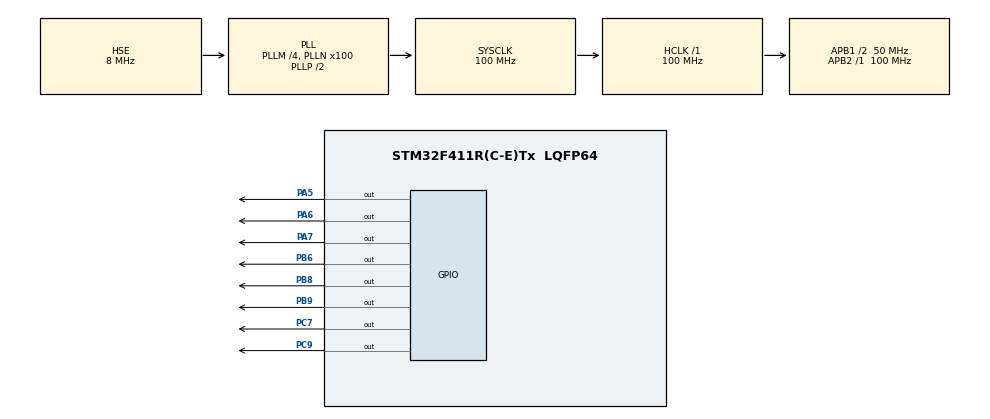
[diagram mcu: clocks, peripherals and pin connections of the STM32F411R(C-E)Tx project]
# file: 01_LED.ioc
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Mcu.Family=STM32F4
Mcu.Name=STM32F411R(C-E)Tx
Mcu.Package=LQFP64
NVIC.PriorityGroup=NVIC_PRIORITYGROUP_4
PA13.Mode=Serial_Wire
PA13.Signal=SYS_JTMS-SWDIO
PA14.Mode=Serial_Wire
PA14.Signal=SYS_JTCK-SWCLK
PA5.Signal=GPIO_Output
PA6.Signal=GPIO_Output
PA7.Signal=GPIO_Output
PB6.Signal=GPIO_Output
PB8.Signal=GPIO_Output
PB9.Signal=GPIO_Output
PC7.Signal=GPIO_Output
PC9.Signal=GPIO_Output
PH0\ -\ OSC_IN.Mode=HSE-External-Oscillator
PH0\ -\ OSC_IN.Signal=RCC_OSC_IN
PH1\ -\ OSC_OUT.Mode=HSE-External-Oscillator
PH1\ -\ OSC_OUT.Signal=RCC_OSC_OUT
ProjectManager.HeapSize=0x200
ProjectManager.StackSize=0x400
ProjectManager.TargetToolchain=STM32CubeIDE
RCC.48MHZClocksFreq_Value=50000000
RCC.AHBFreq_Value=100000000
RCC.APB1CLKDivider=RCC_HCLK_DIV2
RCC.APB1Freq_Value=50000000
RCC.APB1TimFreq_Value=100000000
RCC.APB2Freq_Value=100000000
RCC.APB2TimFreq_Value=100000000
RCC.CortexFreq_Value=100000000
RCC.HCLKFreq_Value=100000000
RCC.HSE_VALUE=8000000
RCC.HSI_VALUE=16000000
RCC.LSE_VALUE=32768
RCC.PLLM=4
RCC.PLLN=100
RCC.PLLSourceVirtual=RCC_PLLSOURCE_HSE
RCC.SYSCLKFreq_VALUE=100000000
RCC.SYSCLKSource=RCC_SYSCLKSOURCE_PLLCLK
RCC.VCOOutputFreq_Value=200000000
board=custom

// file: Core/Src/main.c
/* USER CODE BEGIN Header */
/**
  ******************************************************************************
  * @file           : main.c
  * @brief          : Main program body
  ******************************************************************************
  * @attention
  *
  * Copyright (c) 2025 STMicroelectronics.
  * All rights reserved.
  *
  * This software is licensed under terms that can be found in the LICENSE file
  * in the root directory of this software component.
  * If no LICENSE file comes with this software, it is provided AS-IS.
  *
  ******************************************************************************
  */
/* USER CODE END Header */
#include "main.h"
#include "gpio.h"

/* USER CODE BEGIN PTD */
typedef enum {
	LED_OFF,		// 0
	LED_ON			// 1
} LED_STATE;

typedef struct {
	GPIO_TypeDef	*port;
	uint16_t		pinNumber;
	uint32_t		interval;
	LED_STATE		state;
	uint32_t		lastTick;
} LED_CONTROL;

void updateLed(LED_CONTROL *led) {
	uint32_t currentTick = HAL_GetTick();		// 현재의 시간, Tick

	if ((currentTick - led->lastTick) >= led->interval) {
		led->lastTick = currentTick;
		if (led->state == LED_OFF) {
			HAL_GPIO_WritePin(led->port, led->pinNumber, 1);
			led->state = LED_ON;
		}
		else {
				HAL_GPIO_WritePin(led->port, led->pinNumber, 0);
				led->state = LED_OFF;
		}
	}
}
/* USER CODE END PTD */

void SystemClock_Config(void);

int main(void)
{

  /* MCU Configuration--------------------------------------------------------*/

  /* Reset of all peripherals, Initializes the Flash interface and the Systick. */
  HAL_Init();

  /* Configure the system clock */
  SystemClock_Config();

  /* Initialize all configured peripherals */
  MX_GPIO_Init();
  /* USER CODE BEGIN 2 */
  LED_CONTROL led1 = {GPIOC, GPIO_PIN_9, 200, LED_OFF, 0};
  LED_CONTROL led2 = {GPIOB, GPIO_PIN_8, 1000, LED_OFF, 0};
  /* USER CODE END 2 */

  /* Infinite loop */
  /* USER CODE BEGIN WHILE */
  while (1) {
	  updateLed(&led1);
	  updateLed(&led2);

    /* USER CODE END WHILE */

  }
}

void SystemClock_Config(void)
{
  RCC_OscInitTypeDef RCC_OscInitStruct = {0};
  RCC_ClkInitTypeDef RCC_ClkInitStruct = {0};

  /** Configure the main internal regulator output voltage
  */
  __HAL_RCC_PWR_CLK_ENABLE();
  __HAL_PWR_VOLTAGESCALING_CONFIG(PWR_REGULATOR_VOLTAGE_SCALE1);

  /** Initializes the RCC Oscillators according to the specified parameters
  * in the RCC_OscInitTypeDef structure.
  */
  RCC_OscInitStruct.OscillatorType = RCC_OSCILLATORTYPE_HSE;
  RCC_OscInitStruct.HSEState = RCC_HSE_ON;
  RCC_OscInitStruct.PLL.PLLState = RCC_PLL_ON;
  RCC_OscInitStruct.PLL.PLLSource = RCC_PLLSOURCE_HSE;
  RCC_OscInitStruct.PLL.PLLM = 4;
  RCC_OscInitStruct.PLL.PLLN = 100;
  RCC_OscInitStruct.PLL.PLLP = RCC_PLLP_DIV2;
  RCC_OscInitStruct.PLL.PLLQ = 4;
  if (HAL_RCC_OscConfig(&RCC_OscInitStruct) != HAL_OK)
  {
    Error_Handler();
  }

  /** Initializes the CPU, AHB and APB buses clocks
  */
  RCC_ClkInitStruct.ClockType = RCC_CLOCKTYPE_HCLK|RCC_CLOCKTYPE_SYSCLK
                              |RCC_CLOCKTYPE_PCLK1|RCC_CLOCKTYPE_PCLK2;
  RCC_ClkInitStruct.SYSCLKSource = RCC_SYSCLKSOURCE_PLLCLK;
  RCC_ClkInitStruct.AHBCLKDivider = RCC_SYSCLK_DIV1;
  RCC_ClkInitStruct.APB1CLKDivider = RCC_HCLK_DIV2;
  RCC_ClkInitStruct.APB2CLKDivider = RCC_HCLK_DIV1;

  if (HAL_RCC_ClockConfig(&RCC_ClkInitStruct, FLASH_LATENCY_3) != HAL_OK)
  {
    Error_Handler();
  }
}

void Error_Handler(void)
{
  __disable_irq();
  while (1)
  {
  }
}
